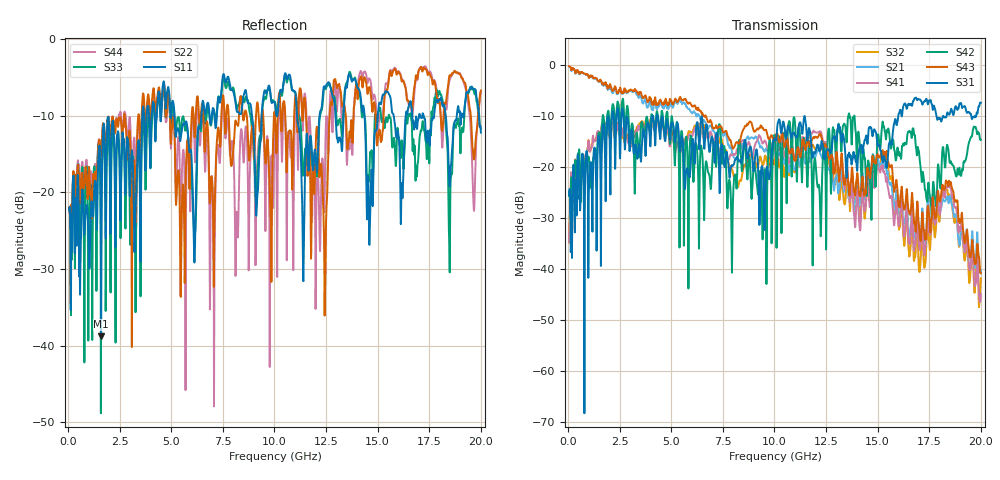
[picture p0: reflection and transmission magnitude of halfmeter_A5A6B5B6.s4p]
! FILE: D:\iPass\iPassCable1005\iPassCable\SOLT_cal\halfmeter_A5A6B5B6.s4p
# MHz S MA R 50.00
! FREQ  S11  S12  S13  S14
!  S21  S22  S23  S24
!  S31  S32  S33  S34
!  S41  S42  S43  S44
!  MAG  ANG  MAG  ANG  MAG  ANG  MAG  ANG
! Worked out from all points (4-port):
!   1996 points, 50 MHz to 20 GHz, reference 50 ohm
!   strongest paths, dB at 50 MHz, 5.04 GHz, 10.03 GHz, 15.02 GHz, 20 GHz:
!     S31: -25.5, -11.3, -14.7, -15.7, -7.4
!     S43: -0.2, -7.5, -14.6, -17.7, -40.8
!     S42: -25.7, -10.3, -14.7, -13.6, -14.6
!     S41: -34.7, -13.9, -16.1, -19.8, -44.9
!     S21: -0.3, -8.0, -16.1, -18.4, -40.2
!     S32: -34.8, -12.8, -18.5, -19.2, -41.8
!   lowest |S11| = -38.8 dB at 1.6 GHz (marker M1), VSWR 1.02, Z = 50.5 - j1.06 ohm
!   |S11| at or under -10 dB: start of sweep to 3.595 GHz; 5.153 GHz to 6.461 GHz (1.308 GHz wide, 22.5 % of centre); 11.09 GHz to 12.18 GHz (1.091 GHz wide, 9.38 % of centre)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
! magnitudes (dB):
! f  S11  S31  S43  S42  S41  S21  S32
! 50 MHz  -22.3  -25.5  -0.2  -25.7  -34.7  -0.3  -34.8
! 1.6 GHz  -38.8  -28.4  -3.0  -15.9  -12.5  -3.2  -12.4
! 11.25 GHz  -13.5  -11.2  -18.1  -14.7  -17.2  -19.6  -19.8
! 12.45 GHz  -6.4  -18.4  -15.5  -17.5  -15.1  -18.9  -17.5
! 12.93 GHz  -9.1  -14.2  -20.9  -15.3  -20.9  -22.6  -23.5
! 18.41 GHz  -14.0  -9.6  -23.7  -16.3  -23.9  -26.3  -26.1
! 20 GHz  -12.2  -7.4  -40.8  -14.6  -44.9  -40.2  -41.8
